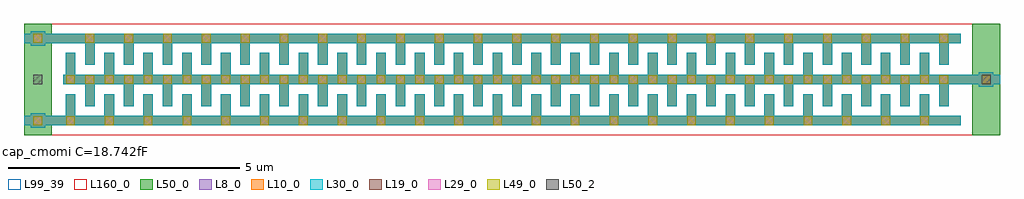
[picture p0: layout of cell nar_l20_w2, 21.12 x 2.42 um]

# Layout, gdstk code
import gdstk
lib = gdstk.Library(unit=1e-6, precision=1e-09)
def R(c, l, rs):  # rectangles x0, y0, x1, y1
    for r in rs: c.add(gdstk.rectangle(r[:2], r[2:], *l))
def A(c, l, x, y, w, h, nx, ny, dx, dy):  # array of equal rectangles
    R(c, l, [(x+i*dx, y+j*dy, x+i*dx+w, y+j*dy+h) for i in range(nx) for j in range(ny)])
L8_0 = (8, 0)
L10_0 = (10, 0)
L19_0 = (19, 0)
L29_0 = (29, 0)
L30_0 = (30, 0)
L49_0 = (49, 0)
L50_0 = (50, 0)
L50_2 = (50, 2)
L99_39 = (99, 39)
L160_0 = (160, 0)

nar_l20_w2 = lib.new_cell('nar_l20_w2')
A(nar_l20_w2, L8_0, 0, 0, 0.21, 0.575, 23, 2, 0.84, 0.89)
A(nar_l20_w2, L8_0, 0.42, 0.315, 0.21, 0.575, 23, 2, 0.84, 0.89)
R(nar_l20_w2, L8_0, [(-0.755,-0.155,-0.445,0.155), (-0.9,-0.105,19.37,0.105), (19.765,0.735,20.075,1.045), (-0.05,0.785,20.22,0.995), (-0.755,1.625,-0.445,1.935), (-0.9,1.675,19.37,1.885)])
A(nar_l20_w2, L10_0, 0, 0, 0.21, 0.575, 23, 2, 0.84, 0.89)
A(nar_l20_w2, L10_0, 0.42, 0.315, 0.21, 0.575, 23, 2, 0.84, 0.89)
R(nar_l20_w2, L10_0, [(-0.755,-0.155,-0.445,0.155), (-0.9,-0.105,19.37,0.105), (19.765,0.735,20.075,1.045), (-0.05,0.785,20.22,0.995), (-0.755,1.625,-0.445,1.935), (-0.9,1.675,19.37,1.885)])
A(nar_l20_w2, L19_0, 0.01, -0.095, 0.19, 0.19, 23, 1, 0.84, 0)
A(nar_l20_w2, L19_0, 0.01, 0.795, 0.19, 0.19, 46, 1, 0.42, 0)
A(nar_l20_w2, L19_0, 0.43, 1.685, 0.19, 0.19, 23, 1, 0.84, 0)
R(nar_l20_w2, L19_0, [(-0.695,-0.095,-0.505,0.095), (19.825,0.795,20.015,0.985), (-0.695,1.685,-0.505,1.875)])
A(nar_l20_w2, L29_0, 0.01, -0.095, 0.19, 0.19, 23, 1, 0.84, 0)
A(nar_l20_w2, L29_0, 0.01, 0.795, 0.19, 0.19, 46, 1, 0.42, 0)
A(nar_l20_w2, L29_0, 0.43, 1.685, 0.19, 0.19, 23, 1, 0.84, 0)
R(nar_l20_w2, L29_0, [(-0.695,-0.095,-0.505,0.095), (19.825,0.795,20.015,0.985), (-0.695,1.685,-0.505,1.875)])
A(nar_l20_w2, L30_0, 0, 0, 0.21, 0.575, 23, 2, 0.84, 0.89)
A(nar_l20_w2, L30_0, 0.42, 0.315, 0.21, 0.575, 23, 2, 0.84, 0.89)
R(nar_l20_w2, L30_0, [(-0.755,-0.155,-0.445,0.155), (-0.9,-0.105,19.37,0.105), (19.765,0.735,20.075,1.045), (-0.05,0.785,20.22,0.995), (-0.755,1.625,-0.445,1.935), (-0.9,1.675,19.37,1.885)])
A(nar_l20_w2, L49_0, 0.01, -0.095, 0.19, 0.19, 23, 1, 0.84, 0)
A(nar_l20_w2, L49_0, 0.01, 0.795, 0.19, 0.19, 46, 1, 0.42, 0)
A(nar_l20_w2, L49_0, 0.43, 1.685, 0.19, 0.19, 23, 1, 0.84, 0)
R(nar_l20_w2, L49_0, [(-0.695,-0.095,-0.505,0.095), (19.825,0.795,20.015,0.985), (-0.695,1.685,-0.505,1.875)])
A(nar_l20_w2, L50_0, 0, 0, 0.21, 0.575, 23, 2, 0.84, 0.89)
A(nar_l20_w2, L50_0, 0.42, 0.315, 0.21, 0.575, 23, 2, 0.84, 0.89)
R(nar_l20_w2, L50_0, [(-0.9,-0.32,-0.3,2.1), (19.62,-0.32,20.22,2.1), (-0.9,-0.105,19.37,0.105), (-0.05,0.785,20.22,0.995), (-0.9,1.675,19.37,1.885)])
R(nar_l20_w2, L50_2, [(-0.7,0.785,-0.5,0.995), (19.82,0.785,20.02,0.995)])
R(nar_l20_w2, L99_39, [(-0.9,-0.32,20.22,2.1)])
R(nar_l20_w2, L160_0, [(-0.9,-0.32,20.22,2.1)])
nar_l20_w2.add(gdstk.Label('cap_cmomi C=18.742fF', (-0.9,-0.82), layer=63, texttype=0))

lib.write_gds('nar_l20_w2.gds')
